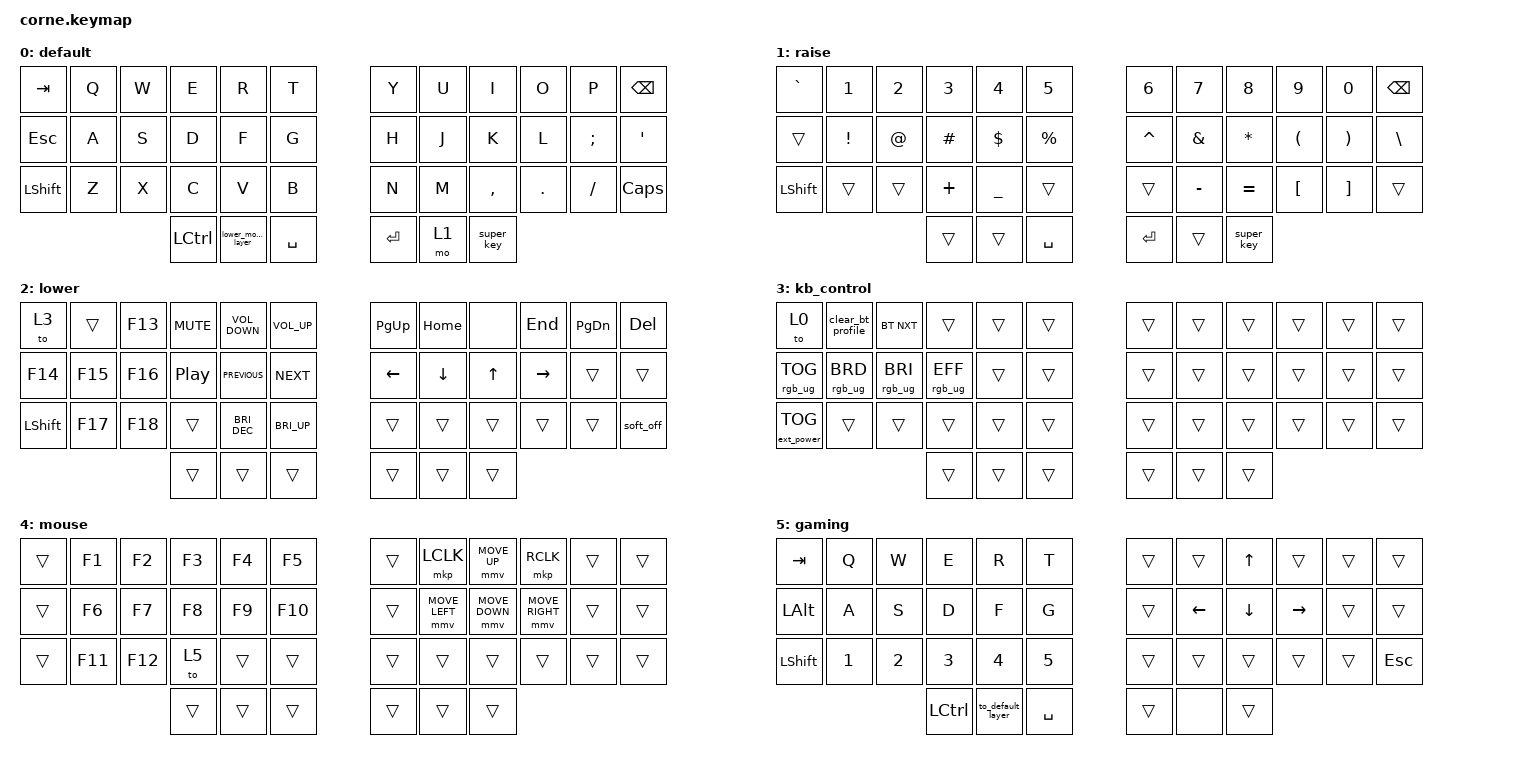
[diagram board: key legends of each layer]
/*
 * Copyright (c) 2020 The ZMK Contributors
 *
 * SPDX-License-Identifier: MIT
 */

#include <behaviors.dtsi>
#include <dt-bindings/zmk/bt.h>
#include <dt-bindings/zmk/ext_power.h>
#include <dt-bindings/zmk/keys.h>
#include <dt-bindings/zmk/pointing.h>
#include <dt-bindings/zmk/rgb.h>

&led_strip { chain-length = <27>; };

&nice_view_spi { cs-gpios = <&gpio1 7 GPIO_ACTIVE_HIGH>; };

/ {
    combos { compatible = "zmk,combos"; };

    macros {
        change_language: change_language {
            compatible = "zmk,behavior-macro";
            #binding-cells = <0>;
            bindings =
                <&macro_press>,
                <&kp LSHFT &kp LEFT_ALT>,
                <&macro_wait_time 100>,
                <&macro_release>,
                <&kp LEFT_SHIFT &kp LEFT_ALT>;

            label = "CHANGE_LANGUAGE";
        };
    };

    behaviors {
        clear_bt_profile: clear_bt_profile {
            compatible = "zmk,behavior-tap-dance";
            label = "CLEAR_BT_PROFILE";
            #binding-cells = <0>;
            bindings = <&none>, <&none>, <&bt BT_CLR>;

            tapping-term-ms = <500>;
        };

        super_key: super_key {
            compatible = "zmk,behavior-tap-dance";
            label = "SUPER_KEY";
            #binding-cells = <0>;
            bindings = <&kp LEFT_META>, <&kp LEFT_ALT>;
        };

        to_default_layer: to_default_layer {
            compatible = "zmk,behavior-tap-dance";
            label = "TO_DEFAULT_LAYER";
            #binding-cells = <0>;
            bindings = <&none>, <&none>, <&to 0>;
        };

        lower_mouse_layer: lower_mouse_layer {
            compatible = "zmk,behavior-tap-dance";
            label = "LOWER_MOUSE_LAYER";
            #binding-cells = <0>;
            bindings = <&mo 2>, <&mo 4>;
        };
    };

    keymap {
        compatible = "zmk,keymap";

        default {
            // -----------------------------------------------------------------------------------------
            // |  TAB |  Q  |  W  |  E  |  R  |  T  |   |  Y  |  U   |  I  |  O  |  P  | BSPC |
            // | CTRL |  A  |  S  |  D  |  F  |  G  |   |  H  |  J   |  K  |  L  |  ;  |  '   |
            // | SHFT |  Z  |  X  |  C  |  V  |  B  |   |  N  |  M   |  ,  |  .  |  /  | ESC  |
            //                    | GUI | LWR | SPC |   | ENT | RSE  | ALT |

            bindings = <
&kp TAB     &kp Q  &kp W  &kp E             &kp R               &kp T        &kp Y    &kp U  &kp I       &kp O    &kp P     &kp BSPC
&kp ESCAPE  &kp A  &kp S  &kp D             &kp F               &kp G        &kp H    &kp J  &kp K       &kp L    &kp SEMI  &kp SQT
&kp LSHIFT  &kp Z  &kp X  &kp C             &kp V               &kp B        &kp N    &kp M  &kp COMMA   &kp DOT  &kp FSLH  &kp CAPSLOCK
                          &kp LEFT_CONTROL  &lower_mouse_layer  &kp SPACE    &kp RET  &mo 1  &super_key
            >;
        };

        raise {
            // -----------------------------------------------------------------------------------------
            // |  TAB |  1  |  2  |  3  |  4  |  5  |   |  6  |  7  |  8  |  9  |  0  | BSPC |
            // | BTCLR| BT1 | BT2 | BT3 | BT4 | BT5 |   | LFT | DWN |  UP | RGT |     |      |
            // | SHFT |     |     |     |     |     |   |     |     |     |     |     |      |
            //                    | GUI |     | SPC |   | ENT |     | ALT |

            bindings = <
&kp GRAVE       &kp N1           &kp N2       &kp N3    &kp N4      &kp N5         &kp N6     &kp N7         &kp N8        &kp N9                &kp N0                 &kp BSPC
&trans          &kp EXCLAMATION  &kp AT_SIGN  &kp HASH  &kp DOLLAR  &kp PERCENT    &kp CARET  &kp AMPERSAND  &kp ASTERISK  &kp LEFT_PARENTHESIS  &kp RIGHT_PARENTHESIS  &kp BACKSLASH
&kp LEFT_SHIFT  &trans           &trans       &kp PLUS  &kp UNDER   &trans         &trans     &kp MINUS      &kp EQUAL     &kp LEFT_BRACKET      &kp RIGHT_BRACKET      &trans
                                              &trans    &trans      &kp SPACE      &kp RET    &trans         &super_key
            >;
        };

        lower {
            bindings = <
&to 3           &trans   &kp F13  &kp C_MUTE        &kp C_VOLUME_DOWN  &kp C_VOLUME_UP    &kp PG_UP       &kp HOME        &none         &kp END          &kp PG_DN  &kp DEL
&kp F14         &kp F15  &kp F16  &kp C_PLAY_PAUSE  &kp C_PREVIOUS     &kp C_NEXT         &kp LEFT_ARROW  &kp DOWN_ARROW  &kp UP_ARROW  &kp RIGHT_ARROW  &trans     &trans
&kp LEFT_SHIFT  &kp F17  &kp F18  &trans            &kp C_BRI_DEC      &kp C_BRI_UP       &trans          &trans          &trans        &trans           &trans     &soft_off
                                  &trans            &trans             &trans             &trans          &trans          &trans
            >;
        };

        kb_control {
            bindings = <
&to 0              &clear_bt_profile  &bt BT_NXT       &trans           &trans  &trans    &trans  &trans  &trans  &trans  &trans  &trans
&rgb_ug RGB_TOG    &rgb_ug RGB_BRD    &rgb_ug RGB_BRI  &rgb_ug RGB_EFF  &trans  &trans    &trans  &trans  &trans  &trans  &trans  &trans
&ext_power EP_TOG  &trans             &trans           &trans           &trans  &trans    &trans  &trans  &trans  &trans  &trans  &trans
                                                       &trans           &trans  &trans    &trans  &trans  &trans
            >;
        };

        mouse {
            bindings = <
&trans  &kp F1   &kp F2   &kp F3  &kp F4  &kp F5     &trans  &mkp LCLK       &mmv MOVE_UP    &mkp RCLK        &trans  &trans
&trans  &kp F6   &kp F7   &kp F8  &kp F9  &kp F10    &trans  &mmv MOVE_LEFT  &mmv MOVE_DOWN  &mmv MOVE_RIGHT  &trans  &trans
&trans  &kp F11  &kp F12  &to 5   &trans  &trans     &trans  &trans          &trans          &trans           &trans  &trans
                          &trans  &trans  &trans     &trans  &trans          &trans
            >;
        };

        gaming {
            bindings = <
&kp TAB         &kp Q   &kp W   &kp E      &kp R              &kp T        &trans  &trans          &kp UP_ARROW    &trans           &trans  &trans
&kp LEFT_ALT    &kp A   &kp S   &kp D      &kp F              &kp G        &trans  &kp LEFT_ARROW  &kp DOWN_ARROW  &kp RIGHT_ARROW  &trans  &trans
&kp LEFT_SHIFT  &kp N1  &kp N2  &kp N3     &kp NUMBER_4       &kp N5       &trans  &trans          &trans          &trans           &trans  &kp ESCAPE
                                &kp LCTRL  &to_default_layer  &kp SPACE    &trans  &none           &trans
            >;
        };
    };

    conditional_layers { compatible = "zmk,conditional-layers"; };
};
